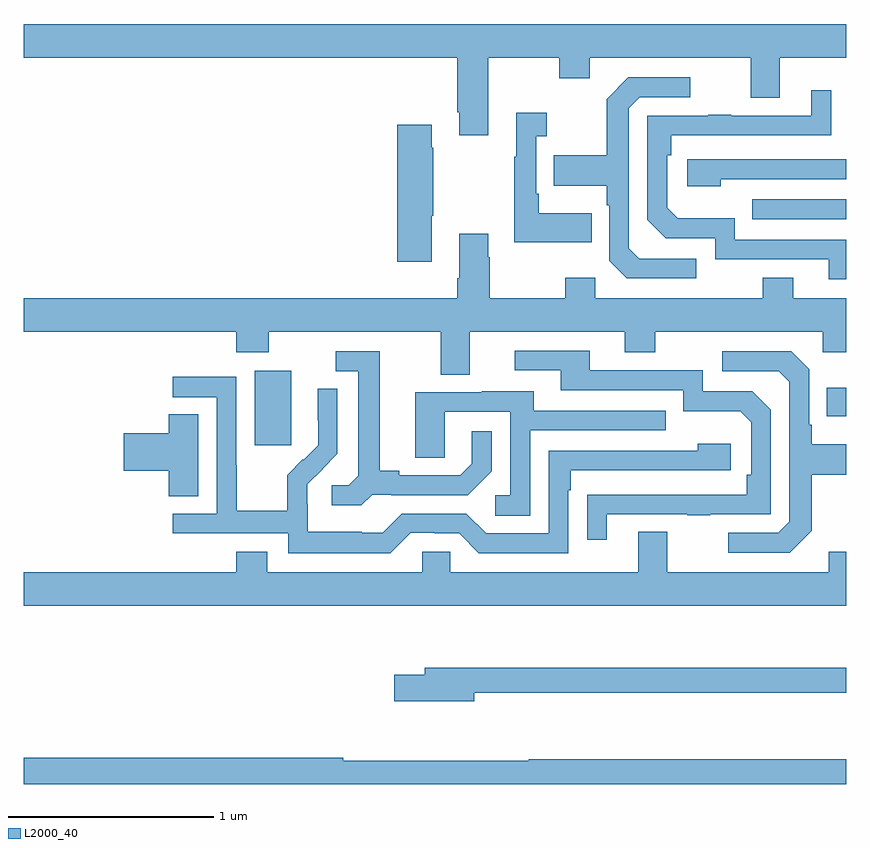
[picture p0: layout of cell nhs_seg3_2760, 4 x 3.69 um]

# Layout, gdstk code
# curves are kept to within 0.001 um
import gdstk
lib = gdstk.Library(unit=1e-6, precision=1e-09)
def R(c, l, rs):  # rectangles x0, y0, x1, y1
    for r in rs: c.add(gdstk.rectangle(r[:2], r[2:], *l))
def P(c, l, *ps):  # polygons
    for p in ps: c.add(gdstk.Polygon(p, *l))
L2000_40 = (2000, 40)

nhs_seg3_2760 = lib.new_cell('nhs_seg3_2760')
R(nhs_seg3_2760, L2000_40, [(254.123,736.329,254.302,736.69), (256.903,736.469,257,736.609), (256.543,737.427,257,737.523)])
P(nhs_seg3_2760, L2000_40, [(255.259,738.212),(255.604,738.212),(255.604,738.113),(255.751,738.113),(255.751,738.212),(256.535,738.212),(256.535,738.018),(256.675,738.018),(256.675,738.212),(257,738.212),(257,738.376),(253,738.376),(253,738.212),(255.107,738.212),(255.107,737.947),(255.119,737.947),(255.119,737.835),(255.259,737.835)],
  [(256.27,737.235),(255.993,737.235),(255.942,737.286),(255.942,737.967),(255.996,738.021),(256.24,738.021),(256.24,738.117),(255.939,738.117),(255.834,738.011),(255.834,737.739),(255.577,737.739),(255.577,737.591),(255.834,737.591),(255.834,737.495),(255.846,737.495),(255.846,737.226),(255.933,737.139),(256.27,737.139)],
  [(257,737.328),(256.458,737.328),(256.458,737.431),(256.181,737.431),(256.128,737.484),(256.128,737.738),(256.148,737.738),(256.148,737.835),(256.925,737.836),(256.925,738.055),(256.829,738.055),(256.829,737.931),(256.439,737.931),(256.439,737.936),(256.327,737.936),(256.327,737.931),(256.032,737.931),(256.032,737.424),(256.122,737.334),(256.362,737.334),(256.362,737.232),(256.913,737.232),(256.913,737.136),(257,737.136)],
  [(255.761,737.455),(255.505,737.455),(255.505,737.551),(255.492,737.551),(255.492,737.831),(255.544,737.831),(255.544,737.944),(255.395,737.944),(255.395,737.731),(255.384,737.731),(255.384,737.315),(255.761,737.315)],
  [(254.983,737.443),(254.991,737.443),(254.991,737.774),(254.983,737.774),(254.983,737.887),(254.816,737.887),(254.816,737.22),(254.983,737.22)],
  [(256.388,737.622),(257,737.622),(257,737.718),(256.227,737.718),(256.227,737.588),(256.388,737.588)],
  [(255.169,736.88),(255.923,736.88),(255.923,736.781),(256.071,736.781),(256.071,736.88),(256.884,736.88),(256.884,736.781),(257,736.781),(257,737.044),(256.741,737.044),(256.741,737.143),(256.594,737.143),(256.594,737.044),(255.78,737.044),(255.78,737.143),(255.634,737.143),(255.634,737.044),(255.267,737.044),(255.267,737.243),(255.259,737.243),(255.259,737.356),(255.119,737.356),(255.119,737.14),(255.107,737.14),(255.107,737.044),(253,737.044),(253,736.88),(254.033,736.88),(254.033,736.781),(254.193,736.781),(254.193,736.88),(255.029,736.88),(255.029,736.672),(255.169,736.672)],
  [(255.835,735.993),(256.225,735.993),(256.225,735.988),(256.337,735.988),(256.337,735.993),(256.632,735.993),(256.632,736.5),(256.542,736.59),(256.302,736.59),(256.302,736.692),(255.751,736.692),(255.751,736.788),(255.387,736.788),(255.387,736.692),(255.611,736.692),(255.611,736.596),(256.206,736.596),(256.206,736.493),(256.483,736.493),(256.536,736.44),(256.536,736.186),(256.516,736.186),(256.516,736.089),(255.739,736.088),(255.739,735.87),(255.835,735.87)],
  [(256.831,735.913),(256.831,736.186),(257,736.186),(257,736.333),(256.831,736.333),(256.831,736.429),(256.818,736.429),(256.818,736.698),(256.731,736.785),(256.395,736.785),(256.395,736.689),(256.671,736.689),(256.722,736.638),(256.722,735.957),(256.668,735.903),(256.425,735.903),(256.425,735.807),(256.725,735.807)],
  [(254.694,736.089),(254.788,736.089),(254.788,736.086),(255.16,736.086),(255.276,736.202),(255.276,736.396),(255.179,736.396),(255.179,736.239),(255.122,736.182),(254.827,736.182),(254.827,736.205),(254.731,736.205),(254.731,736.785),(254.517,736.785),(254.517,736.689),(254.627,736.689),(254.627,736.181),(254.58,736.134),(254.499,736.134),(254.499,736.037),(254.642,736.037)],
  [(254.883,735.903),(254.999,735.903),(254.999,735.9),(255.117,735.9),(255.213,735.804),(255.648,735.804),(255.648,736.109),(255.661,736.109),(255.661,736.206),(256.438,736.206),(256.438,736.336),(256.277,736.336),(256.277,736.302),(255.552,736.302),(255.552,735.9),(255.249,735.9),(255.153,735.996),(254.838,735.996),(254.745,735.903),(254.645,735.903),(254.645,735.907),(254.382,735.907),(254.382,736.041),(254.38,736.041),(254.38,736.138),(254.526,736.286),(254.526,736.604),(254.43,736.604),(254.43,736.45),(254.432,736.45),(254.432,736.328),(254.361,736.257),(254.358,736.26),(254.281,736.183),(254.281,736.009),(254.037,736.009),(254.037,736.232),(254.034,736.232),(254.034,736.662),(253.725,736.662),(253.725,736.563),(253.938,736.563),(253.938,735.996),(253.725,735.996),(253.725,735.9),(254.286,735.9),(254.286,735.803),(254.783,735.803)],
  [(255.462,736.401),(256.121,736.401),(256.121,736.497),(255.481,736.497),(255.481,736.591),(255.227,736.591),(255.227,736.587),(254.903,736.587),(254.903,736.267),(255.048,736.267),(255.048,736.491),(255.366,736.491),(255.366,736.086),(255.294,736.086),(255.294,735.985),(255.462,735.985)],
  [(253.849,736.478),(253.706,736.478),(253.706,736.388),(253.488,736.388),(253.488,736.205),(253.706,736.205),(253.706,736.081),(253.849,736.081)],
  [(257,735.811),(256.913,735.811),(256.913,735.712),(256.129,735.712),(256.129,735.907),(255.989,735.907),(255.989,735.712),(255.075,735.712),(255.075,735.81),(254.937,735.81),(254.937,735.712),(254.185,735.712),(254.185,735.811),(254.033,735.811),(254.033,735.712),(253,735.712),(253,735.548),(257,735.548)],
  [(255.19,735.126),(257,735.126),(257,735.247),(254.951,735.247),(254.951,735.213),(254.802,735.213),(254.802,735.083),(255.19,735.083)],
  [(257,734.803),(255.455,734.803),(255.455,734.795),(254.555,734.795),(254.555,734.81),(253,734.81),(253,734.682),(257,734.682)])

lib.write_gds('nhs_seg3_2760.gds')
